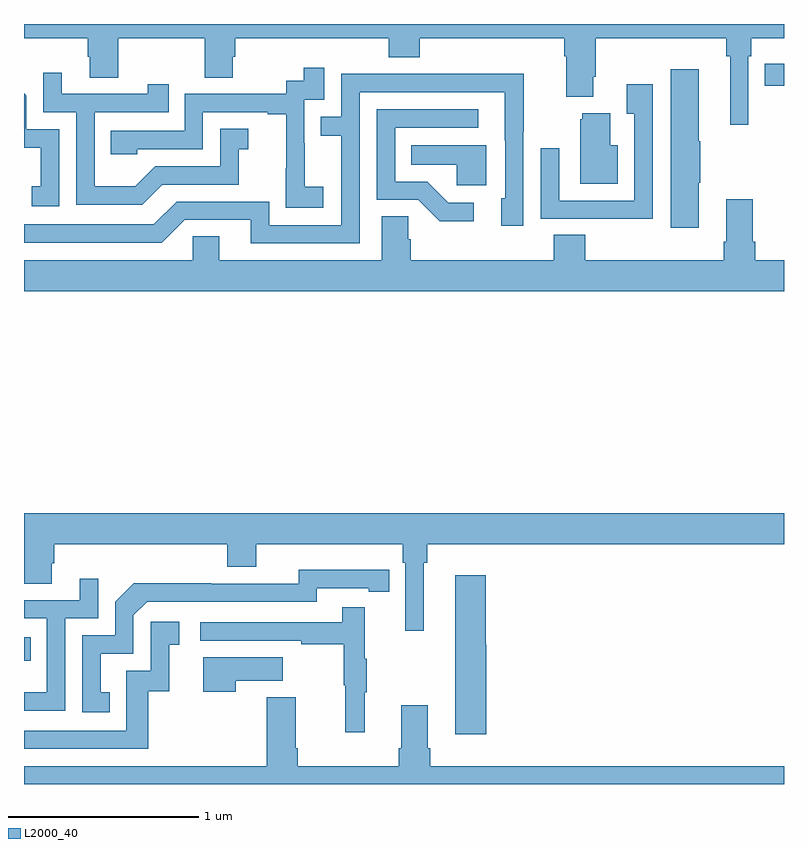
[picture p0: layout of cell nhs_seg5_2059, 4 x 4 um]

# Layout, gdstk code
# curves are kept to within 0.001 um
import gdstk
lib = gdstk.Library(unit=1e-6, precision=1e-09)
def R(c, l, rs):  # rectangles x0, y0, x1, y1
    for r in rs: c.add(gdstk.rectangle(r[:2], r[2:], *l))
def P(c, l, *ps):  # polygons
    for p in ps: c.add(gdstk.Polygon(p, *l))
L2000_40 = (2000, 40)

nhs_seg5_2059 = lib.new_cell('nhs_seg5_2059')
R(nhs_seg5_2059, L2000_40, [(231,889.449,231.035,889.572), (234.898,892.474,235,892.59)])
P(nhs_seg5_2059, L2000_40, [(234.813,892.628),(234.827,892.628),(234.827,892.724),(235,892.724),(235,892.799),(231,892.799),(231,892.724),(231.335,892.724),(231.335,892.626),(231.347,892.626),(231.347,892.516),(231.495,892.516),(231.495,892.724),(231.952,892.724),(231.952,892.516),(232.099,892.516),(232.099,892.626),(232.112,892.626),(232.112,892.724),(232.919,892.724),(232.919,892.625),(233.084,892.625),(233.084,892.724),(233.843,892.724),(233.843,892.628),(233.855,892.628),(233.855,892.415),(233.995,892.415),(233.995,892.522),(234.008,892.522),(234.008,892.724),(234.697,892.724),(234.697,892.628),(234.716,892.628),(234.716,892.269),(234.813,892.269)],
  [(232.576,891.943),(232.478,891.943),(232.478,892.172),(232.476,892.172),(232.476,892.401),(232.581,892.401),(232.581,892.57),(232.473,892.57),(232.473,892.5),(232.38,892.5),(232.38,892.431),(231.846,892.431),(231.846,892.236),(231.457,892.236),(231.457,892.113),(231.597,892.113),(231.597,892.14),(231.942,892.14),(231.942,892.335),(232.283,892.335),(232.283,892.323),(232.379,892.323),(232.379,892.039),(232.378,892.039),(232.378,891.833),(232.576,891.833)],
  [(234.55,891.964),(234.558,891.964),(234.558,892.181),(234.55,892.181),(234.55,892.561),(234.404,892.561),(234.404,891.726),(234.55,891.726)],
  [(231.727,891.954),(232.131,891.954),(232.131,892.139),(232.18,892.139),(232.18,892.249),(232.032,892.249),(232.032,892.05),(231.69,892.05),(231.586,891.946),(231.372,891.946),(231.372,892.335),(231.761,892.335),(231.761,892.483),(231.65,892.483),(231.65,892.431),(231.199,892.431),(231.199,892.543),(231.102,892.543),(231.102,892.335),(231.276,892.335),(231.276,891.849),(231.622,891.849)],
  [(232.767,892.44),(233.531,892.44),(233.532,891.882),(233.513,891.882),(233.513,891.738),(233.628,891.738),(233.628,892.231),(233.631,892.231),(233.631,892.538),(233.167,892.538),(233.167,892.536),(232.671,892.536),(232.671,892.311),(232.561,892.311),(232.561,892.21),(232.671,892.21),(232.671,891.741),(232.29,891.741),(232.29,891.864),(231.804,891.864),(231.684,891.744),(231,891.744),(231,891.648),(231.726,891.648),(231.846,891.768),(232.193,891.768),(232.193,891.645),(232.767,891.645)],
  [(234.309,892.483),(234.173,892.483),(234.173,892.327),(234.213,892.327),(234.213,891.87),(233.817,891.87),(233.817,892.144),(233.721,892.144),(233.721,891.774),(234.037,891.774),(234.037,891.773),(234.309,891.773)],
  [(231.186,892.245),(231.012,892.245),(231.012,892.422),(231,892.434),(231,892.149),(231.089,892.149),(231.089,891.945),(231.04,891.945),(231.04,891.84),(231.186,891.84)],
  [(233.368,891.858),(233.233,891.858),(233.122,891.969),(232.953,891.969),(232.953,892.254),(233.392,892.254),(233.392,892.35),(232.857,892.35),(232.857,891.873),(233.076,891.873),(233.189,891.761),(233.368,891.761)],
  [(234.124,892.162),(234.085,892.162),(234.085,892.33),(233.939,892.33),(233.939,892.299),(233.927,892.299),(233.927,891.959),(234.124,891.959)],
  [(233.434,892.162),(233.038,892.162),(233.038,892.058),(233.277,892.058),(233.277,891.95),(233.434,891.95)],
  [(235,891.556),(234.848,891.556),(234.848,891.652),(234.835,891.652),(234.835,891.877),(234.695,891.877),(234.695,891.652),(234.683,891.652),(234.683,891.556),(233.954,891.556),(233.954,891.689),(233.789,891.689),(233.789,891.556),(233.036,891.556),(233.036,891.665),(233.022,891.665),(233.022,891.788),(232.883,891.788),(232.883,891.556),(232.027,891.556),(232.027,891.683),(231.888,891.683),(231.888,891.556),(231,891.556),(231,891.392),(235,891.392)],
  [(231,889.852),(231.145,889.852),(231.145,889.962),(231.158,889.962),(231.158,890.06),(232.07,890.06),(232.07,889.943),(232.222,889.943),(232.222,890.06),(232.994,890.06),(232.994,889.964),(233.007,889.964),(233.007,889.605),(233.104,889.605),(233.104,889.964),(233.123,889.964),(233.123,890.06),(235,890.06),(235,890.224),(231,890.224)],
  [(231.452,889.281),(231.403,889.281),(231.403,889.485),(231.576,889.485),(231.576,889.686),(231.648,889.758),(232.542,889.758),(232.542,889.83),(232.814,889.83),(232.814,889.81),(232.922,889.81),(232.922,889.926),(232.446,889.927),(232.446,889.854),(231.986,889.854),(231.986,889.856),(231.578,889.856),(231.48,889.758),(231.48,889.581),(231.306,889.581),(231.306,889.176),(231.452,889.176)],
  [(233.434,889.533),(233.429,889.533),(233.429,889.897),(233.27,889.897),(233.27,889.062),(233.434,889.062)],
  [(231.216,889.671),(231.39,889.671),(231.39,889.879),(231.293,889.879),(231.293,889.767),(231,889.767),(231,889.671),(231.12,889.671),(231.12,889.282),(231,889.282),(231,889.185),(231.216,889.185)],
  [(232.793,889.283),(232.804,889.283),(232.804,889.457),(232.793,889.457),(232.793,889.729),(232.675,889.729),(232.675,889.65),(231.927,889.65),(231.927,889.554),(232.459,889.554),(232.459,889.534),(232.683,889.534),(232.683,889.32),(232.69,889.32),(232.69,889.071),(232.793,889.071)],
  [(231.653,889.287),(231.764,889.287),(231.764,889.533),(231.817,889.533),(231.817,889.654),(231.666,889.654),(231.666,889.395),(231.537,889.395),(231.537,889.08),(231,889.08),(231,888.984),(231.653,888.984)],
  [(232.115,889.343),(232.363,889.343),(232.363,889.465),(231.944,889.465),(231.944,889.284),(232.115,889.284)],
  [(235,888.892),(233.138,888.892),(233.138,888.988),(233.125,888.988),(233.125,889.213),(232.985,889.213),(232.985,888.988),(232.973,888.988),(232.973,888.892),(232.442,888.892),(232.442,888.988),(232.429,888.988),(232.429,889.255),(232.277,889.255),(232.277,888.892),(231,888.892),(231,888.799),(235,888.799)])

lib.write_gds('nhs_seg5_2059.gds')
